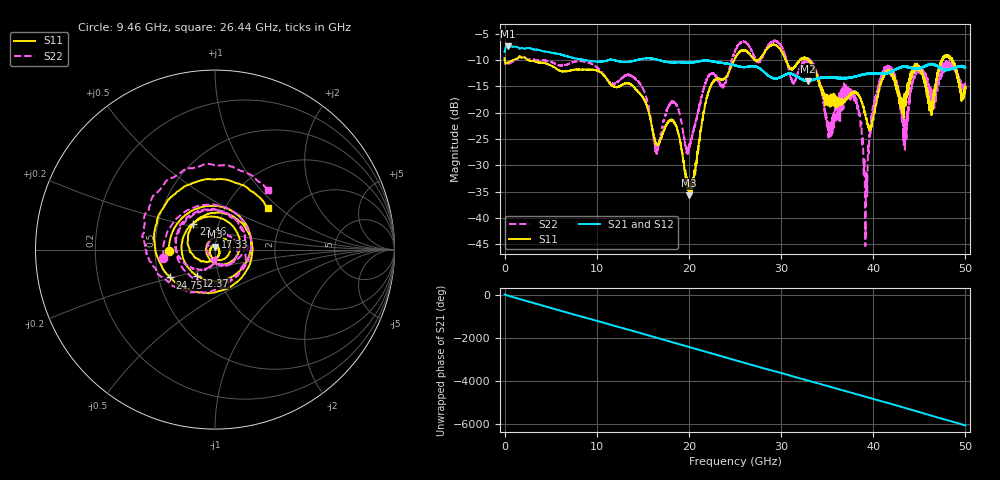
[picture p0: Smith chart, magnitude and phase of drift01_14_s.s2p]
!Created with skrf (http://scikit-rf.org).
# Hz S RI R 50.0
!freq ReS11 ImS11 ReS21 ImS21 ReS12 ImS12 ReS22 ImS22
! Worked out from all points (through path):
!   10001 points, 300 kHz to 50 GHz, reference 50 ohm
!   highest |S21| = -7.33 dB at 315.3 MHz (marker M1); lowest = -14.0 dB at 32.89 GHz (marker M2)
!   group delay of S21, straight-line fit = 335 ps
!   lowest |S11| = -35.7 dB at 20.01 GHz (marker M3), VSWR 1.03, Z = 49.9 + j1.64 ohm
!   |S11| at or under -10 dB: 2.555 GHz to 24.91 GHz (22.36 GHz wide, 163 % of centre); 30.51 GHz to 32.02 GHz (1.512 GHz wide, 4.84 % of centre); 33.06 GHz to 47.43 GHz (14.37 GHz wide, 35.7 % of centre) (the widest 3 of 22)
!   |S22| runs from -45.4 to -6.3 dB; largest |S21 - S12| = 0.0078
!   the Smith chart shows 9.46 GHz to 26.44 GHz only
!   S11 on the Smith chart (normalised r, x): 9.46 GHz: 0.59, -0.01; 12.37 GHz: 0.78, -0.24; 17.33 GHz: 1.00, +0.14; 22.46 GHz: 0.76, +0.22; 24.75 GHz: 0.57, -0.20; 26.44 GHz: 1.57, +0.83
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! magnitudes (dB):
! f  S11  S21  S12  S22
! 300 kHz  -9.6  -8.4  -8.5  -9.5
! 315.3 MHz  -10.5  -7.3  -7.3  -10.9
! 8.335 GHz  -11.8  -9.9  -9.8  -10.2
! 9.46 GHz  -11.8  -10.2  -10.2  -10.7
! 12.37 GHz  -15.0  -10.2  -10.2  -14.0
! 16.67 GHz  -26.1  -10.0  -10.0  -26.9
! 17.33 GHz  -23.1  -10.2  -10.2  -21.2
! 20.01 GHz  -35.7  -10.5  -10.5  -26.7
! 22.46 GHz  -14.6  -10.2  -10.2  -12.6
! 24.75 GHz  -10.6  -10.8  -10.9  -9.4
! 25 GHz  -9.6  -11.0  -11.0  -8.2
! 26.44 GHz  -8.6  -11.2  -11.3  -7.0
! 32.89 GHz  -9.9  -14.0  -13.8  -9.9
! 33.34 GHz  -10.8  -13.8  -13.8  -10.6
! 35.23 GHz  -17.1  -13.3  -13.2  -22.7
! 38 GHz  -16.1  -13.1  -13.2  -17.2
! 39.17 GHz  -20.6  -12.7  -12.7  -43.5
! 40.15 GHz  -19.9  -12.5  -12.5  -17.5
! 41.67 GHz  -12.1  -12.3  -12.4  -11.8
! 43.45 GHz  -17.4  -11.3  -11.3  -25.7
! 44.88 GHz  -11.2  -11.6  -11.6  -11.8
! 50 GHz  -15.3  -11.4  -11.4  -15.0
